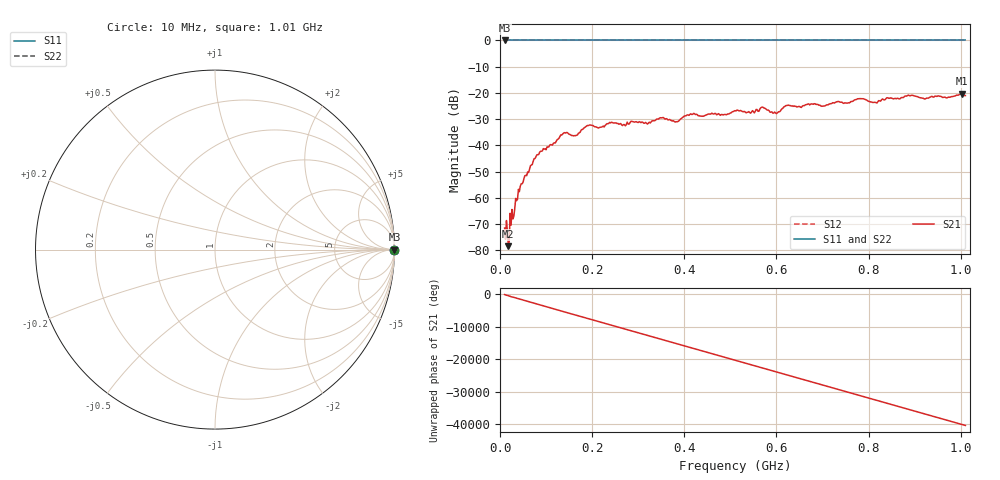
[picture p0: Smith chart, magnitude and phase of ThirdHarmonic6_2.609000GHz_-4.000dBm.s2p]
! 8/17/2025 5:41:52 AM
! C:\ANRITSUVNA\TEMP\TEMP.S2P
! CHANNEL.1
! TR.MEASUREMENT
! RAW.DATA
! RF.CORRECTION.OFF
! AVERAGING.OFF
! IF.BANDWIDTH: 5KHZ
! SWEEPTYPE:  FREQ.SWEEP(Linear)
! Reference Plane Port Info
! PORT:  PORT1  PORT2
! DISTANCE:  0  m  0  m
! TIME:  0  s  0  s
! PHASE.OFFSET:  0  deg.  0  deg.
! LOSS:  0  dB  0  dB
! REF.LOSS:  0  dB  0  dB
! REF.FREQ:  0  Hz  0  Hz
! Power Info
! POWER:  -20  dBm  -20  dBm
! EFF.POWER:  -20  dBm  -20  dBm
! SOURCE.ATTEN:  0  dB  0  dB
! TEST.ATTEN:  0  dB  0  dB
# GHZ S RI R 50.0
! FREQ.GHZ  S11RE  S11IM  S21RE  S21IM  S12RE  S12IM  S22RE  S22IM
!; PortSelection: Port_12
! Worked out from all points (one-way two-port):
!   501 points, 10 MHz to 1.01 GHz, reference 50 ohm
!   highest |S21| = -20.27 dB at 1.002 GHz (marker M1); lowest = -78.4 dB at 18 MHz (marker M2)
!   lowest |S11| = 0.0 dB at 10 MHz (marker M3)
!   |S11| at or under -10 dB: nowhere
!   |S22| runs from 0.0 to 0.0 dB; largest |S21 - S12| = 1.1
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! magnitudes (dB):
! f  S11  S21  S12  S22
! 10 MHz  0.0  -71.5  0.0  0.0
! 16 MHz  0.0  -72.4  0.0  0.0
! 18 MHz  0.0  -78.4  0.0  0.0
! 20 MHz  0.0  -76.5  0.0  0.0
! 26 MHz  0.0  -64.4  0.0  0.0
! 44 MHz  0.0  -55.5  0.0  0.0
! 78 MHz  0.0  -44.3  0.0  0.0
! 136 MHz  0.0  -35.7  0.0  0.0
! 164 MHz  0.0  -36.3  0.0  0.0
! 178 MHz  0.0  -33.9  0.0  0.0
! 194 MHz  0.0  -32.2  0.0  0.0
! 344 MHz  0.0  -29.9  0.0  0.0
! 382 MHz  0.0  -31.0  0.0  0.0
! 416 MHz  0.0  -28.2  0.0  0.0
! 510 MHz  0.0  -26.8  0.0  0.0
! 570 MHz  0.0  -25.4  0.0  0.0
! 598 MHz  0.0  -27.6  0.0  0.0
! 622 MHz  0.0  -24.8  0.0  0.0
! 678 MHz  0.0  -24.2  0.0  0.0
! 844 MHz  0.0  -22.1  0.0  0.0
! 1.002 GHz  0.0  -20.3  0.0  0.0
! 1.01 GHz  0.0  -21.0  0.0  0.0
